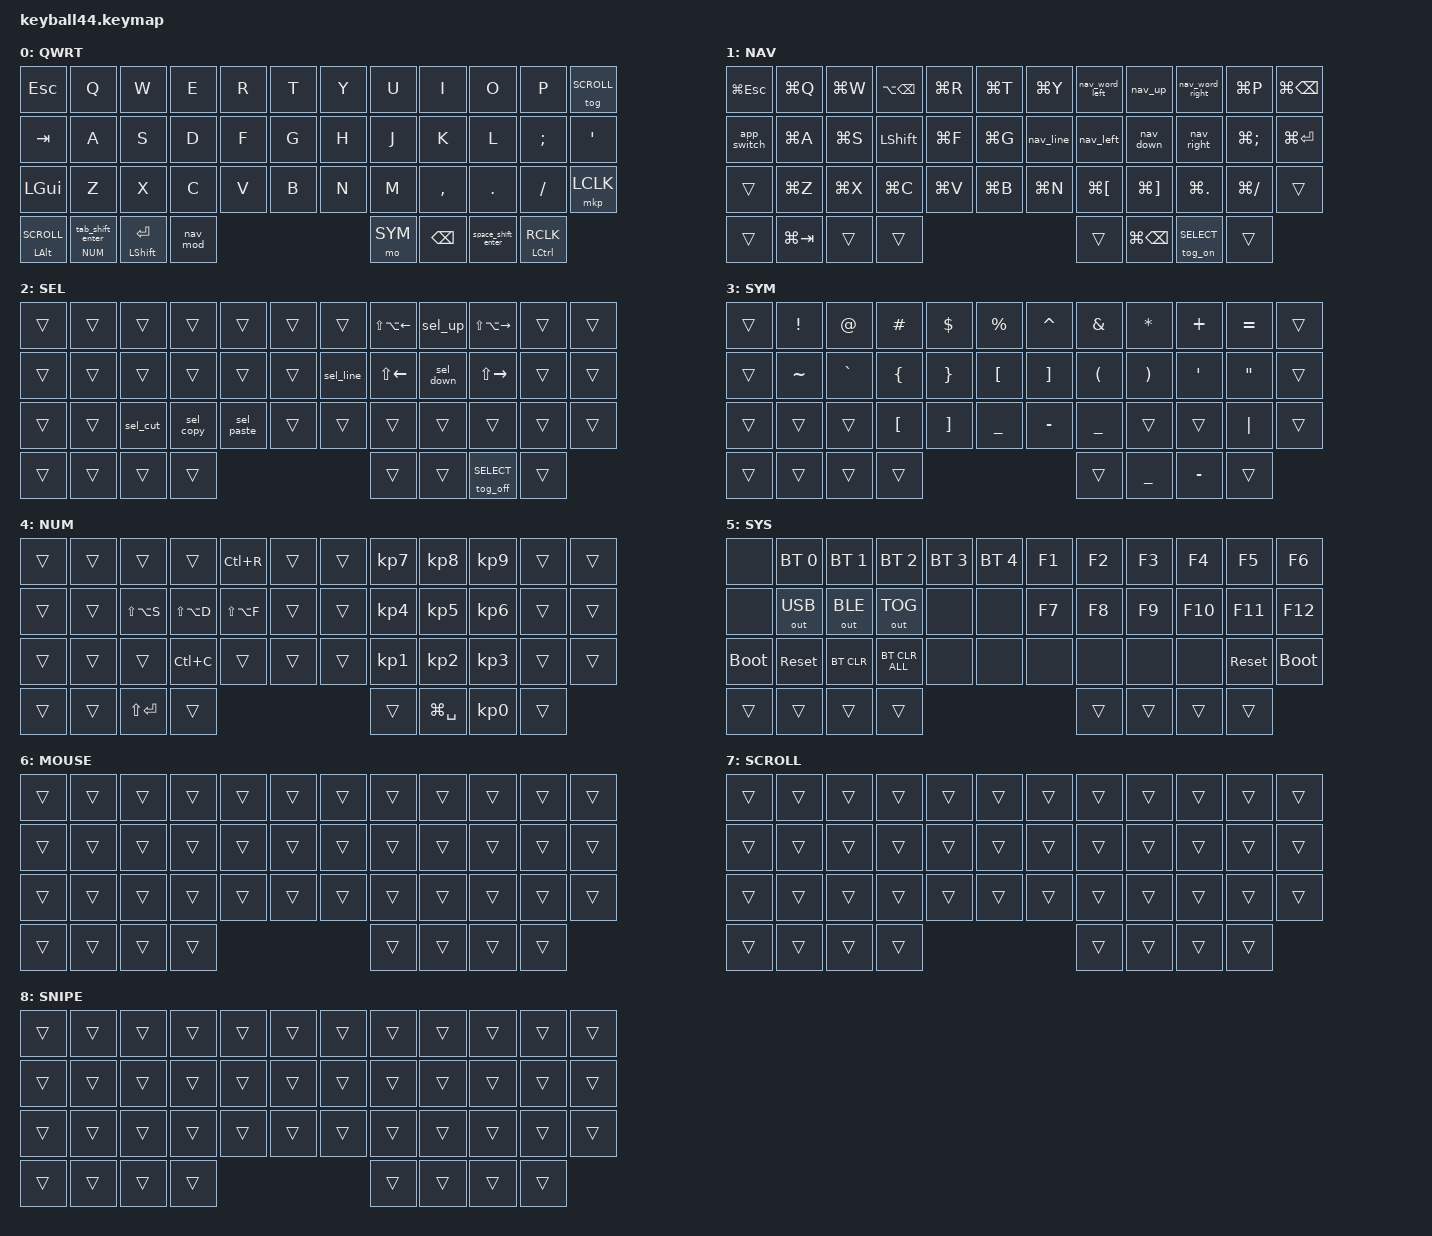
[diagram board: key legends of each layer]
// Layer indices — MOUSE/SCROLL/SNIPE must match the pmw3610 driver
// properties in boards/shields/keyball_nano/keyball44_right.overlay.
#define DEFAULT 0
#define NAV     1
#define SELECT  2
#define SYM     3
#define NUM     4
#define SYS     5
#define MOUSE   6
#define SCROLL  7
#define SNIPE   8

#include <behaviors/mouse_keys.dtsi>
#include <behaviors.dtsi>
#include <dt-bindings/zmk/bt.h>
#include <dt-bindings/zmk/keys.h>
#include <dt-bindings/zmk/mouse.h>
#include <dt-bindings/zmk/outputs.h>

&nice_view_spi { cs-gpios = <&pro_micro 1 GPIO_ACTIVE_HIGH>; };

&lt {
    tapping-term-ms = <240>;
    flavor = "balanced";
    quick-tap-ms = <150>;
};

// Shift is the hold of this key. Enter is the tap.
//
// The flavor is hold-preferred. Balanced resolves to a tap when Shift releases
// before the other key. That release order is common, and it sends Enter and an
// unshifted letter instead of a capital. Hold-preferred resolves to the hold as
// soon as another key goes down, so Shift always wins.
//
// hold-while-undecided presses Shift at key down. Shift is then in the HID report
// before the other key arrives. This matters on a split keyboard. The central
// timestamps a peripheral key event when the event arrives over Bluetooth, so a
// left half key can sort after a right half key that came later. A tap releases
// Shift before it sends Enter, so a tap still sends a clean Enter.
//
// The cost is a roll out of Enter into the next character. The board then sends
// shift plus that character and no Enter. A tap of Enter keeps its speed, because
// the release decides the tap at once. The tapping term only bounds a lone hold.
&mt {
    tapping-term-ms = <240>;
    flavor = "hold-preferred";
    quick-tap-ms = <150>;
    hold-while-undecided;
};

&caps_word { continue-list = <UNDERSCORE MINUS>; };

/ {
    behaviors {
        tog_on: toggle_layer_on {
            compatible = "zmk,behavior-toggle-layer";
            #binding-cells = <1>;
            toggle-mode = "on";
        };

        tog_off: toggle_layer_off {
            compatible = "zmk,behavior-toggle-layer";
            #binding-cells = <1>;
            toggle-mode = "off";
        };

        // Bottom-left thumb (the keycap reads "alt"): tap still toggles trackball
        // scroll mode, hold is a real Option/Alt. &mt can't express this — it
        // takes a keycode on both sides, and the tap here is a layer toggle — so
        // this is a hold-tap with &kp on the hold side and &tog on the tap side.
        scroll_alt: scroll_alt {
            compatible = "zmk,behavior-hold-tap";
            #binding-cells = <2>;
            flavor = "tap-preferred";
            tapping-term-ms = <200>;
            quick-tap-ms = <150>;
            bindings = <&kp>, <&tog>;
        };

        // Corner key past the trackball: tap right-click, hold Ctrl. Ctrl had no
        // home at all after the port — the corne carried it twice, on a seventh
        // column this board does not have and as the hold of its Enter thumb,
        // and Enter moved to the left thumb here. A tap action and a modifier
        // hold do not compete for the same key, so nothing is given up.
        rclk_ctrl: rclk_ctrl {
            compatible = "zmk,behavior-hold-tap";
            #binding-cells = <2>;
            flavor = "tap-preferred";
            tapping-term-ms = <200>;
            quick-tap-ms = <150>;
            bindings = <&kp>, <&mkp>;
        };

        // Enter is the tap of the Shift key, so shift+enter cannot be produced by
        // that key alone. It comes off the NUM thumb key next to it instead: with
        // shift held, that key's tap morphs from TAB to shift+enter. The morph
        // masks the physical shift and the morphed binding carries its own, so
        // exactly one shift reaches the host. Shift+TAB is given up here and stays
        // available on the TAB key in the letter block.
        num_tab: num_tab {
            compatible = "zmk,behavior-hold-tap";
            #binding-cells = <2>;
            flavor = "balanced";
            tapping-term-ms = <240>;
            quick-tap-ms = <150>;
            bindings = <&mo>, <&tab_shift_enter>;
        };

        // Space sends shift plus enter while shift is held. Space sits under the
        // opposite thumb from Shift, so this is the cheapest of the three ways to
        // reach shift plus enter. The morph masks the held shift, and the morphed
        // binding supplies its own, so the host receives one shift.
        //
        // The board gives up shift plus space, which some applications use to
        // scroll up one page. A held shift that outlasts a capital letter now
        // turns the next space into a newline.
        space_shift_enter: space_shift_enter {
            compatible = "zmk,behavior-mod-morph";
            #binding-cells = <0>;
            bindings = <&kp SPACE>, <&kp LS(ENTER)>;
            mods = <(MOD_LSFT|MOD_RSFT)>;
        };

        tab_shift_enter: tab_shift_enter {
            compatible = "zmk,behavior-mod-morph";
            #binding-cells = <0>;
            bindings = <&kp TAB>, <&kp LS(ENTER)>;
            mods = <(MOD_LSFT|MOD_RSFT)>;
        };

        // NAV cluster shift variants (mod-morph suppresses the held shift,
        // matching the old Vial key-override behavior)
        nav_up: nav_up {
            compatible = "zmk,behavior-mod-morph";
            #binding-cells = <0>;
            bindings = <&kp UP>, <&kp PG_UP>;
            mods = <(MOD_LSFT|MOD_RSFT)>;
        };

        nav_down: nav_down {
            compatible = "zmk,behavior-mod-morph";
            #binding-cells = <0>;
            bindings = <&kp DOWN>, <&kp PG_DN>;
            mods = <(MOD_LSFT|MOD_RSFT)>;
        };

        nav_left: nav_left {
            compatible = "zmk,behavior-mod-morph";
            #binding-cells = <0>;
            bindings = <&kp LEFT>, <&kp LC(LEFT)>;
            mods = <(MOD_LSFT|MOD_RSFT)>;
        };

        nav_right: nav_right {
            compatible = "zmk,behavior-mod-morph";
            #binding-cells = <0>;
            bindings = <&kp RIGHT>, <&kp LC(RIGHT)>;
            mods = <(MOD_LSFT|MOD_RSFT)>;
        };

        // Word-jump keys. The Vial key-overrides carried negative_mod_mask 34,
        // meaning the word-jump was suppressed while shift was held and the key
        // fell through to itself with the mod key's Cmd still applied — so
        // mod+shift+O was Cmd+Shift+O and mod+shift+U was Cmd+Shift+U, both app
        // shortcuts. Without these morphs shift merely stacks onto the arrow and
        // produces select-a-word-over instead.
        nav_word_right: nav_word_right {
            compatible = "zmk,behavior-mod-morph";
            #binding-cells = <0>;
            bindings = <&kp LA(RIGHT)>, <&kp LG(LS(O))>;
            mods = <(MOD_LSFT|MOD_RSFT)>;
        };

        nav_word_left: nav_word_left {
            compatible = "zmk,behavior-mod-morph";
            #binding-cells = <0>;
            bindings = <&kp LA(LEFT)>, <&kp LG(LS(U))>;
            mods = <(MOD_LSFT|MOD_RSFT)>;
        };

        nav_line: nav_line {
            compatible = "zmk,behavior-mod-morph";
            #binding-cells = <0>;
            bindings = <&kp LG(RIGHT)>, <&kp LG(LEFT)>;
            mods = <(MOD_LSFT|MOD_RSFT)>;
        };

        // SELECT variants: same motions with shift held so they extend the selection
        sel_up: sel_up {
            compatible = "zmk,behavior-mod-morph";
            #binding-cells = <0>;
            bindings = <&kp LS(UP)>, <&kp LS(PG_UP)>;
            mods = <(MOD_LSFT|MOD_RSFT)>;
        };

        sel_down: sel_down {
            compatible = "zmk,behavior-mod-morph";
            #binding-cells = <0>;
            bindings = <&kp LS(DOWN)>, <&kp LS(PG_DN)>;
            mods = <(MOD_LSFT|MOD_RSFT)>;
        };

        sel_line: sel_line {
            compatible = "zmk,behavior-mod-morph";
            #binding-cells = <0>;
            bindings = <&kp LS(LG(RIGHT))>, <&kp LS(LG(LEFT))>;
            mods = <(MOD_LSFT|MOD_RSFT)>;
        };
    };

    macros {
        // The "mod" thumb key: momentary NAV while held; releasing it always
        // clears sticky selection (like KC_MOVE on the old dactyl).
        nav_mod: nav_mod {
            compatible = "zmk,behavior-macro";
            #binding-cells = <0>;
            bindings
                = <&macro_press &mo NAV>
                , <&macro_pause_for_release>
                , <&macro_release &mo NAV>
                , <&macro_tap &tog_off SELECT>;
        };

        // NAV's TAB key: the macOS app switcher, held open.
        //
        // A plain `&kp LG(TAB)` cannot cycle. Cmd goes down and back up inside the
        // single keypress, so the switcher closes the moment the key is released
        // and repeated taps only bounce between the two most recent apps. The
        // switcher stays open for exactly as long as Cmd is held, which the old
        // QMK `LM(1, LGUI)` mod key did for free and this layer deliberately does
        // not (every NAV key applies its own Cmd so the arrow cluster can stay
        // unmodified).
        //
        // So this holds Cmd for as long as the key itself is held: tap it for a
        // straight Cmd+Tab to the last app, or keep holding to leave the switcher
        // up and pick a target with `mod`+J/L, which send bare arrows and move the
        // selection. Release to commit. The press and release are balanced, which
        // matters — ZMK counts explicit modifier registrations, so a macro that
        // presses Cmd more often than it releases it leaves Cmd stuck down.
        app_switch: app_switch {
            compatible = "zmk,behavior-macro";
            #binding-cells = <0>;
            bindings
                = <&macro_press &kp LGUI>
                , <&macro_tap &kp TAB>
                , <&macro_pause_for_release>
                , <&macro_release &kp LGUI>;
        };

        sel_copy: sel_copy {
            compatible = "zmk,behavior-macro";
            #binding-cells = <0>;
            bindings = <&macro_tap &kp LG(C) &kp ESC &tog_off SELECT>;
        };

        sel_cut: sel_cut {
            compatible = "zmk,behavior-macro";
            #binding-cells = <0>;
            bindings = <&macro_tap &kp LG(X) &kp ESC &tog_off SELECT>;
        };

        sel_paste: sel_paste {
            compatible = "zmk,behavior-macro";
            #binding-cells = <0>;
            bindings = <&macro_tap &kp LG(V) &tog_off SELECT>;
        };
    };

    conditional_layers {
        compatible = "zmk,conditional-layers";
        sys_tri_layer {
            if-layers = <SYM NUM>;
            then-layer = <SYS>;
        };
    };

    keymap {
        compatible = "zmk,keymap";

        default_layer {
            label = "QWRT";
            bindings = <
&kp ESC         &kp Q  &kp W         &kp E          &kp R     &kp T              &kp Y      &kp U  &kp I      &kp O    &kp P      &tog SCROLL
&kp TAB         &kp A  &kp S         &kp D          &kp F     &kp G              &kp H      &kp J  &kp K      &kp L    &kp SEMI   &kp SQT
&kp LGUI        &kp Z  &kp X         &kp C          &kp V     &kp B              &kp N      &kp M  &kp COMMA  &kp DOT  &kp SLASH  &mkp LCLK
&scroll_alt LALT SCROLL  &num_tab NUM 0  &mt LSHFT ENTER  &nav_mod  &mo SYM  &kp BSPC  &space_shift_enter                   &rclk_ctrl LCTRL RCLK
            >;
        };

        nav_layer {
            label = "NAV";
            bindings = <
&kp LG(ESC)  &kp LG(Q)  &kp LG(W)  &kp LA(BSPC)  &kp LG(R)  &kp LG(T)                 &kp LG(Y)  &nav_word_left  &nav_up  &nav_word_right  &kp LG(P)    &kp LG(BSPC)
&app_switch  &kp LG(A)  &kp LG(S)  &kp LSHFT     &kp LG(F)  &kp LG(G)                 &nav_line  &nav_left     &nav_down  &nav_right     &kp LG(SEMI)   &kp LG(ENTER)
&trans       &kp LG(Z)  &kp LG(X)  &kp LG(C)     &kp LG(V)  &kp LG(B)                 &kp LG(N)  &kp LG(LBKT)  &kp LG(RBKT)  &kp LG(DOT)  &kp LG(SLASH)  &trans
&trans       &kp LG(TAB)  &trans   &trans        &trans                &kp LG(BSPC)   &tog_on SELECT                                                    &trans
            >;
        };

        select_layer {
            label = "SEL";
            bindings = <
&trans  &trans  &trans    &trans     &trans     &trans            &trans     &kp LS(LA(LEFT))  &sel_up       &kp LS(LA(RIGHT))  &trans  &trans
&trans  &trans  &trans    &trans     &trans     &trans            &sel_line  &kp LS(LEFT)      &sel_down     &kp LS(RIGHT)      &trans  &trans
&trans  &trans  &sel_cut  &sel_copy  &sel_paste &trans            &trans     &trans            &trans        &trans             &trans  &trans
&trans  &trans  &trans    &trans     &trans             &trans    &tog_off SELECT                                                       &trans
            >;
        };

        symbol_layer {
            label = "SYM";
            bindings = <
&trans  &kp EXCL   &kp AT     &kp HASH  &kp DLLR  &kp PRCNT             &kp CARET  &kp AMPS   &kp STAR   &kp PLUS  &kp EQUAL  &trans
&trans  &kp TILDE  &kp GRAVE  &kp LBRC  &kp RBRC  &kp LBKT              &kp RBKT   &kp LPAR   &kp RPAR   &kp SQT   &kp DQT    &trans
&trans  &trans     &trans     &kp LBKT  &kp RBKT  &kp UNDER             &kp MINUS  &kp UNDER  &trans     &trans    &kp PIPE   &trans
&trans  &trans     &trans     &trans    &trans               &kp UNDER  &kp MINUS                                             &trans
            >;
        };

        // Nothing destructive belongs on this half. NUM outranks NAV (layer 4 vs
        // 1), so any press that catches both keys fires left-half NUM bindings in
        // place of everyday MOD combos — mod+C, mod+V, mod+W, mod+D. Bluetooth
        // profile select lived here briefly and cost a dead keyboard: it silently
        // drops all input and the selection persists across a power cycle. It is
        // on SYS instead, which needs two thumb keys held at once. NUM and MOD are
        // no longer adjacent thumb keys, which makes the collision rarer but not
        // impossible, and the cost of one is unchanged.
        number_layer {
            label = "NUM";
            bindings = <
&trans  &trans  &trans         &trans         &kp LC(R)      &trans                 &trans  &kp KP_N7  &kp KP_N8  &kp KP_N9  &trans  &trans
&trans  &trans  &kp LS(LA(S))  &kp LS(LA(D))  &kp LS(LA(F))  &trans                 &trans  &kp KP_N4  &kp KP_N5  &kp KP_N6  &trans  &trans
&trans  &trans  &trans         &kp LC(C)      &trans         &trans                 &trans  &kp KP_N1  &kp KP_N2  &kp KP_N3  &trans  &trans
&trans  &trans  &kp LS(ENTER)  &trans         &trans                 &kp LG(SPACE)  &kp KP_N0                                        &trans
            >;
        };

        system_layer {
            label = "SYS";
            bindings = <
&none        &bt BT_SEL 0  &bt BT_SEL 1  &bt BT_SEL 2    &bt BT_SEL 3  &bt BT_SEL 4       &kp F1  &kp F2   &kp F3   &kp F4   &kp F5      &kp F6
&none        &out OUT_USB  &out OUT_BLE  &out OUT_TOG    &none         &none              &kp F7  &kp F8   &kp F9   &kp F10  &kp F11     &kp F12
&bootloader  &sys_reset    &bt BT_CLR    &bt BT_CLR_ALL  &none         &none              &none   &none    &none    &none    &sys_reset  &bootloader
&trans       &trans        &trans        &trans        &trans                  &trans   &trans                                         &trans
            >;
        };

        // Inert: clicks are on dedicated keys, so the driver's automouse-layer is
        // 0 and this never activates. The node has to stay regardless — a layer's
        // index is its position among these children, and the driver hard-codes
        // SCROLL as 7 and SNIPE as 8.
        mouse_layer {
            label = "MOUSE";
            bindings = <
&trans  &trans  &trans  &trans  &trans  &trans            &trans  &trans  &trans  &trans  &trans  &trans
&trans  &trans  &trans  &trans  &trans  &trans            &trans  &trans  &trans  &trans  &trans  &trans
&trans  &trans  &trans  &trans  &trans  &trans            &trans  &trans  &trans  &trans  &trans  &trans
&trans  &trans  &trans  &trans  &trans          &trans    &trans                                  &trans
            >;
        };

        scroll_layer {
            label = "SCROLL";
            bindings = <
&trans  &trans  &trans  &trans  &trans  &trans            &trans  &trans  &trans  &trans  &trans  &trans
&trans  &trans  &trans  &trans  &trans  &trans            &trans  &trans  &trans  &trans  &trans  &trans
&trans  &trans  &trans  &trans  &trans  &trans            &trans  &trans  &trans  &trans  &trans  &trans
&trans  &trans  &trans  &trans  &trans          &trans    &trans                                  &trans
            >;
        };

        snipe_layer {
            label = "SNIPE";
            bindings = <
&trans  &trans  &trans  &trans  &trans  &trans            &trans  &trans  &trans  &trans  &trans  &trans
&trans  &trans  &trans  &trans  &trans  &trans            &trans  &trans  &trans  &trans  &trans  &trans
&trans  &trans  &trans  &trans  &trans  &trans            &trans  &trans  &trans  &trans  &trans  &trans
&trans  &trans  &trans  &trans  &trans          &trans    &trans                                  &trans
            >;
        };
    };
};
